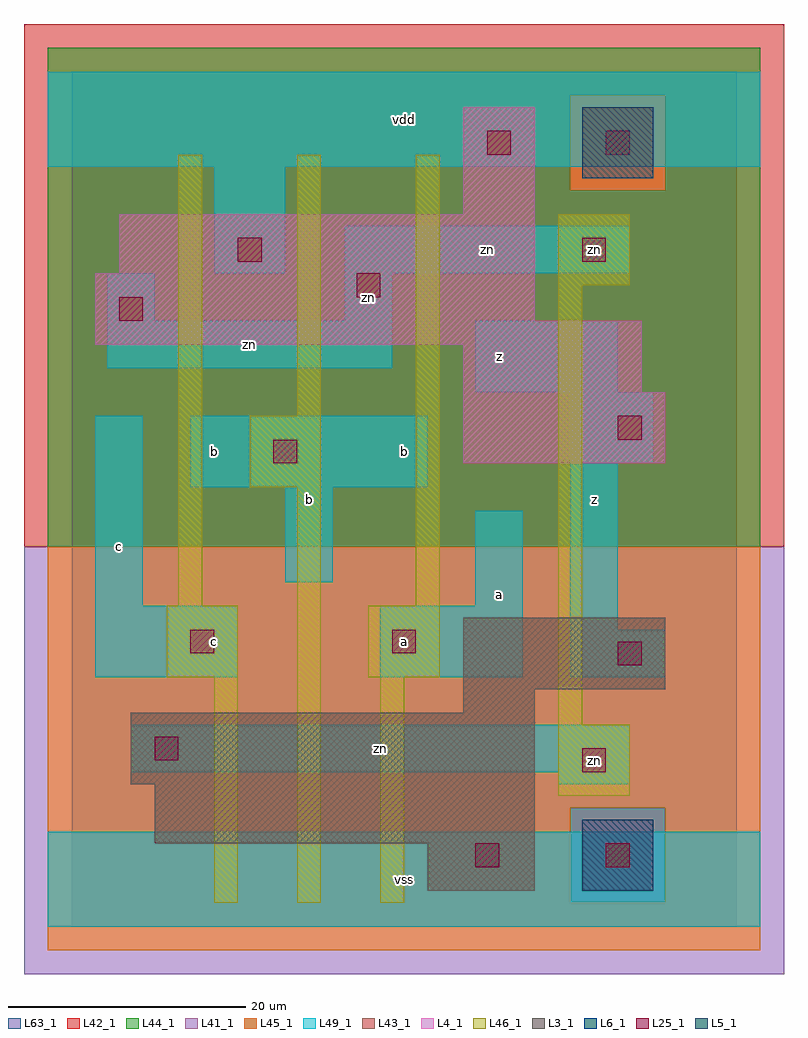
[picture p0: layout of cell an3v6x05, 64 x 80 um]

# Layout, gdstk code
import gdstk
lib = gdstk.Library(unit=1e-6, precision=1e-09)
def R(c, l, rs):  # rectangles x0, y0, x1, y1
    for r in rs: c.add(gdstk.rectangle(r[:2], r[2:], *l))
L3_1 = (3, 1)
L4_1 = (4, 1)
L5_1 = (5, 1)
L6_1 = (6, 1)
L25_1 = (25, 1)
L41_1 = (41, 1)
L42_1 = (42, 1)
L43_1 = (43, 1)
L44_1 = (44, 1)
L45_1 = (45, 1)
L46_1 = (46, 1)
L49_1 = (49, 1)
L63_1 = (63, 1)

an3v6x05 = lib.new_cell('an3v6x05')
R(an3v6x05, L3_1, [(30,3,39,7), (7,7,39,12), (5,12,39,18), (33,18,39,20), (33,20,50,26)])
R(an3v6x05, L4_1, [(33,39,50,45), (33,45,48,49), (2,49,48,51), (2,51,39,55), (4,55,39,60), (33,60,39,69)])
R(an3v6x05, L5_1, [(43,63,49,69)])
R(an3v6x05, L6_1, [(43,3,49,9), (43,3,49,9)])
R(an3v6x05, L25_1, [(34,5,36,7), (45,5,47,7), (43,13,45,15), (7,14,9,16), (46,22,48,24), (10,23,12,25), (27,23,29,25), (17,39,19,41), (46,41,48,43), (4,51,6,53), (24,53,26,55), (14,56,16,58), (43,56,45,58), (35,65,37,67), (45,65,47,67)])
R(an3v6x05, L41_1, [(-4,-4,60,32)])
R(an3v6x05, L42_1, [(-4,32,60,76)])
R(an3v6x05, L43_1, [(30,3,39,7), (43,3,49,9), (7,7,39,12), (5,12,39,18), (33,18,39,20), (33,20,50,26), (33,39,50,45), (33,45,48,49), (2,49,48,51), (2,51,39,55), (4,55,39,60), (33,60,39,69), (43,63,49,69)])
R(an3v6x05, L44_1, [(42,2,50,10), (-2,32,58,62), (-2,62,42,70), (50,62,58,70), (-2,70,58,74)])
R(an3v6x05, L45_1, [(-2,-2,58,2), (-2,2,42,10), (50,2,58,10), (-2,10,58,32), (42,62,50,70)])
R(an3v6x05, L46_1, [(12,2,14,21), (19,2,21,37), (26,2,28,21), (41,11,47,17), (41,17,43,54), (8,21,14,27), (25,21,31,27), (9,27,11,65), (29,27,31,65), (15,37,21,43), (19,43,21,65), (41,54,47,60)])
R(an3v6x05, L49_1, [(-2,0,58,8), (41,12,47,13), (5,13,47,17), (2,21,14,27), (26,21,38,27), (42,21,50,25), (42,25,46,39), (2,27,6,43), (34,27,38,35), (18,29,22,37), (10,37,30,43), (42,39,49,45), (34,45,46,51), (3,47,27,51), (3,51,7,55), (23,51,27,55), (12,55,18,64), (23,55,47,59), (-2,64,58,72)])
R(an3v6x05, L63_1, [(0,0,56,72)])
an3v6x05.add(gdstk.Label('zn', (44,14), layer=49, texttype=1))
an3v6x05.add(gdstk.Label('zn', (44,57), layer=49, texttype=1))
an3v6x05.add(gdstk.Label('c', (4,32), layer=49, texttype=1))
an3v6x05.add(gdstk.Label('c', (12,24), layer=49, texttype=1))
an3v6x05.add(gdstk.Label('b', (20,36), layer=49, texttype=1))
an3v6x05.add(gdstk.Label('b', (12,40), layer=49, texttype=1))
an3v6x05.add(gdstk.Label('zn', (15,49), layer=49, texttype=1))
an3v6x05.add(gdstk.Label('zn', (25,53), layer=49, texttype=1))
an3v6x05.add(gdstk.Label('vss', (28,4), layer=49, texttype=1))
an3v6x05.add(gdstk.Label('a', (28,24), layer=49, texttype=1))
an3v6x05.add(gdstk.Label('a', (36,28), layer=49, texttype=1))
an3v6x05.add(gdstk.Label('b', (28,40), layer=49, texttype=1))
an3v6x05.add(gdstk.Label('z', (36,48), layer=49, texttype=1))
an3v6x05.add(gdstk.Label('vdd', (28,68), layer=49, texttype=1))
an3v6x05.add(gdstk.Label('zn', (44,14), layer=49, texttype=1))
an3v6x05.add(gdstk.Label('zn', (26,15), layer=49, texttype=1))
an3v6x05.add(gdstk.Label('z', (44,36), layer=49, texttype=1))
an3v6x05.add(gdstk.Label('zn', (35,57), layer=49, texttype=1))

lib.write_gds('an3v6x05.gds')
